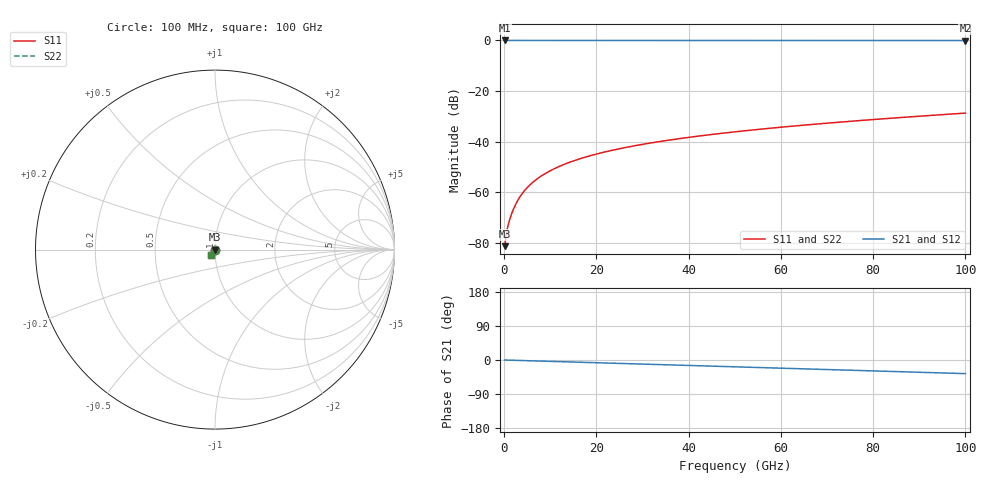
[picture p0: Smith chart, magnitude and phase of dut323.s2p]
! Touchstone file exported from HFSS 2026.1.0
!  File:  C:/ffzhzh/LocalFiles/Ansys_Project_Files/temp_train_TSV_323_1783509557_31944.aedt
!  Generated:  07:20:29 PM Jul  8, 2026
!  Design:  TSV
!  Project:  temp_train_TSV_323_1783509557_31944
! Variables:
!  h_bsmrdl = 2um
!  h_ox = 20um
!  h_rdl = 5um
!  h_sub = 70.29um
!  h_tmrdl = 5um
!  h_tsv = 70.29um
!  h_via = 3um
!  l_bsmrdl = 300um
!  l_sub = 424.62um
!  l_tmrdl = 200um
!  m_sub = 200um
!  pitch = 47um
!  r_tsv = 12.31um
!  s_tmrdl = 10um
!  w_bsmrdl = 18um
!  w_sub = 500um
!  w_tmrdl = 12um
!  x_tsv_center1 = 206um
!  x_tsv_center2 = 524um
!  x_tsv_center3 = 736um
!  x_tsv_center4 = 1054um
!  x_tsv_center5 = 1266um
!  x_tsv_center6 = 1584um
# GHz S MA R 50.000000
! Terminal data exported
! Port[1] = TSV1_1_T1
! Port[2] = TSV1_1_T2
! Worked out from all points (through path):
!   1000 points, 100 MHz to 100 GHz, reference 50 ohm
!   highest |S21| = 0.00 dB at 100 MHz (marker M1); lowest = 0.0 dB at 100 GHz (marker M2)
!   group delay of S21, straight-line fit = 998 fs
!   lowest |S11| = -81.3 dB at 100 MHz (marker M3), VSWR 1.00, Z = 50 + j0.000943 ohm
!   |S11| at or under -10 dB: start of sweep to end of sweep
!   |S22| runs from -81.3 to -28.7 dB; largest |S21 - S12| = 3.5e-15
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0.1  8.64e-05 6.3  0.9999 -0.0  0.9999 -0.0  8.64e-05 6.3
! Gamma 0 0 0 0
! Port Impedance 50 0 50 0
0.4  0.0001357 3.0  0.9999 -0.2  0.9999 -0.2  0.0001357 3.0
0.9  0.0002304 -21.0  0.9998 -0.3  0.9998 -0.3  0.0002304 -21.0
1.2  0.0002889 -31.5  0.9998 -0.4  0.9998 -0.4  0.0002889 -31.5
1.6  0.0003721 -41.1  0.9997 -0.6  0.9997 -0.6  0.0003721 -41.1
2.1  0.0004843 -49.1  0.9997 -0.8  0.9997 -0.8  0.0004843 -49.1
2.7  0.000629 -55.4  0.9996 -1.0  0.9996 -1.0  0.000629 -55.4
3.4  0.0008079 -60.5  0.9996 -1.2  0.9996 -1.2  0.0008078 -60.5
4.2  0.001021 -64.7  0.9995 -1.5  0.9995 -1.5  0.001021 -64.7
5  0.00124 -67.9  0.9995 -1.8  0.9995 -1.8  0.001239 -67.9
7.1  0.001829 -73.5  0.9994 -2.6  0.9994 -2.6  0.001828 -73.5
9.8  0.002611 -77.8  0.9993 -3.5  0.9993 -3.5  0.002611 -77.8
13  0.003564 -81.3  0.9992 -4.7  0.9992 -4.7  0.003563 -81.3
16.8  0.004717 -84.6  0.9991 -6.0  0.9991 -6.0  0.004716 -84.6
20.2  0.005764 -87.0  0.999 -7.3  0.999 -7.3  0.005763 -87.0
24.1  0.006984 -89.4  0.9988 -8.6  0.9988 -8.6  0.006982 -89.5
33.4  0.009978 -94.4  0.9986 -12.0  0.9986 -12.0  0.009976 -94.5
41.2  0.01259 -98.1  0.9984 -14.8  0.9984 -14.8  0.01259 -98.2
50.1  0.0157 -102.1  0.9982 -18.0  0.9982 -18.0  0.01569 -102.2
66.7  0.02192 -109.2  0.9978 -23.9  0.9978 -23.9  0.02192 -109.3
83.4  0.0289 -116.1  0.9973 -29.9  0.9973 -29.9  0.02889 -116.3
100  0.03673 -122.9  0.9967 -36.0  0.9967 -36.0  0.03673 -123.1
